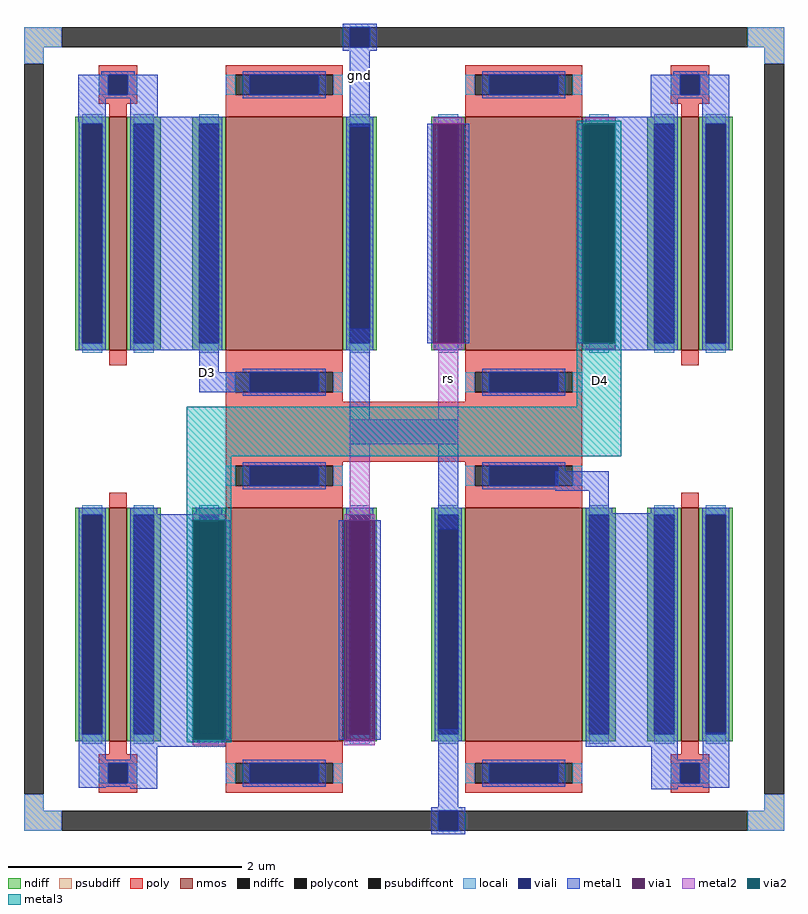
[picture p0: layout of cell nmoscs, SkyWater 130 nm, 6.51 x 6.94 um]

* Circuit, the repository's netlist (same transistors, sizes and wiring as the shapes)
* NGSPICE file created from nmoscs.ext - technology: sky130A

.subckt sky130_fd_pr__nfet_01v8_46AAJJ a_100_n200# a_n158_n200# a_n100_n288# VSUBS
X0 a_100_n200# a_n100_n288# a_n158_n200# VSUBS sky130_fd_pr__nfet_01v8 ad=0.58 pd=4.58 as=0.58 ps=4.58 w=2 l=1
.ends

.subckt sky130_fd_pr__nfet_01v8_TCR5KT a_n33_191# a_n73_n231# a_15_n231# VSUBS
X0 a_15_n231# a_n33_191# a_n73_n231# VSUBS sky130_fd_pr__nfet_01v8 ad=0.58 pd=4.58 as=0.58 ps=4.58 w=2 l=0.15
.ends

.subckt sky130_fd_pr__nfet_01v8_SCJFGL a_n33_n257# a_n73_n169# a_15_n169# VSUBS
X0 a_15_n169# a_n33_n257# a_n73_n169# VSUBS sky130_fd_pr__nfet_01v8 ad=0.58 pd=4.58 as=0.58 ps=4.58 w=2 l=0.15
.ends

.subckt nmoscs gnd D3 rs D4
Xsky130_fd_pr__nfet_01v8_46AAJJ_0 gnd D3 D3 gnd sky130_fd_pr__nfet_01v8_46AAJJ
Xsky130_fd_pr__nfet_01v8_46AAJJ_1 D4 rs D3 gnd sky130_fd_pr__nfet_01v8_46AAJJ
Xsky130_fd_pr__nfet_01v8_46AAJJ_2 rs D4 D3 gnd sky130_fd_pr__nfet_01v8_46AAJJ
Xsky130_fd_pr__nfet_01v8_46AAJJ_3 D3 gnd D3 gnd sky130_fd_pr__nfet_01v8_46AAJJ
Xsky130_fd_pr__nfet_01v8_TCR5KT_0 D3 D3 D3 gnd sky130_fd_pr__nfet_01v8_TCR5KT
Xsky130_fd_pr__nfet_01v8_TCR5KT_1 D4 D4 D4 gnd sky130_fd_pr__nfet_01v8_TCR5KT
Xsky130_fd_pr__nfet_01v8_SCJFGL_0 D4 D4 D4 gnd sky130_fd_pr__nfet_01v8_SCJFGL
Xsky130_fd_pr__nfet_01v8_SCJFGL_1 D3 D3 D3 gnd sky130_fd_pr__nfet_01v8_SCJFGL
.ends

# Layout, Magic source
magic
tech sky130A
magscale 1 2
<< psubdiff >>
rect -288 607 -223 641
rect 952 607 1014 641
rect -288 579 -254 607
rect 980 579 1014 607
rect -288 -701 -254 -673
rect 980 -701 1014 -673
rect -288 -735 -223 -701
rect 952 -735 1014 -701
<< psubdiffcont >>
rect -223 607 952 641
rect -288 -673 -254 579
rect 980 -673 1014 579
rect -223 -735 952 -701
<< poly >>
rect 58 -103 668 0
<< locali >>
rect -288 607 -223 641
rect 952 607 1014 641
rect -288 579 -254 607
rect -288 -701 -254 -673
rect 980 579 1014 607
rect 980 -701 1014 -673
rect -288 -735 -223 -701
rect 952 -735 1014 -701
<< viali >>
rect 270 607 304 641
rect 422 -735 456 -701
<< metal1 >>
rect 258 641 316 647
rect 258 607 270 641
rect 304 607 316 641
rect 258 601 316 607
rect -195 479 -148 560
rect -106 488 -59 560
rect -106 88 52 488
rect 270 471 304 601
rect 786 488 832 560
rect 674 476 832 488
rect 874 482 920 560
rect 12 50 46 88
rect 12 16 93 50
rect 270 -30 304 125
rect 403 100 413 476
rect 465 100 475 476
rect 661 100 671 476
rect 723 100 832 476
rect 674 88 832 100
rect 270 -73 456 -30
rect 3 -193 52 -191
rect -106 -203 57 -193
rect -194 -662 -148 -578
rect -106 -579 3 -203
rect 55 -579 65 -203
rect 251 -579 261 -203
rect 313 -579 323 -203
rect 422 -219 456 -73
rect 622 -153 714 -119
rect 680 -191 714 -153
rect -106 -591 57 -579
rect -106 -663 -60 -591
rect 422 -695 456 -561
rect 674 -591 832 -191
rect 787 -664 832 -591
rect 875 -662 920 -567
rect 410 -701 468 -695
rect 410 -735 422 -701
rect 456 -735 468 -701
rect 410 -741 468 -735
<< via1 >>
rect 413 100 465 476
rect 671 100 723 476
rect 3 -579 55 -203
rect 261 -579 313 -203
<< metal2 >>
rect 413 476 465 486
rect 413 90 465 100
rect 669 476 725 486
rect 669 90 725 100
rect 422 -30 456 90
rect 270 -73 456 -30
rect 270 -193 304 -73
rect 1 -203 57 -193
rect 1 -589 57 -579
rect 261 -203 313 -193
rect 261 -589 313 -579
<< via2 >>
rect 669 100 671 476
rect 671 100 723 476
rect 723 100 725 476
rect 1 -579 3 -203
rect 3 -579 55 -203
rect 55 -579 57 -203
<< metal3 >>
rect 659 476 735 481
rect 659 100 669 476
rect 725 100 735 476
rect 659 -9 735 100
rect -9 -94 735 -9
rect -9 -203 67 -94
rect -9 -579 1 -203
rect 57 -579 67 -203
rect -9 -584 67 -579
use sky130_fd_pr__nfet_01v8_46AAJJ  sky130_fd_pr__nfet_01v8_46AAJJ_0
transform 1 0 158 0 1 288
box -158 -288 158 288
use sky130_fd_pr__nfet_01v8_46AAJJ  sky130_fd_pr__nfet_01v8_46AAJJ_1
transform 1 0 568 0 1 288
box -158 -288 158 288
use sky130_fd_pr__nfet_01v8_46AAJJ  sky130_fd_pr__nfet_01v8_46AAJJ_2
transform 1 0 158 0 1 -382
box -158 -288 158 288
use sky130_fd_pr__nfet_01v8_46AAJJ  sky130_fd_pr__nfet_01v8_46AAJJ_3
transform 1 0 568 0 1 -382
box -158 -288 158 288
use sky130_fd_pr__nfet_01v8_SCJFGL  sky130_fd_pr__nfet_01v8_SCJFGL_0
transform 1 0 -127 0 1 -413
box -73 -257 73 257
use sky130_fd_pr__nfet_01v8_SCJFGL  sky130_fd_pr__nfet_01v8_SCJFGL_1
transform 1 0 853 0 1 -413
box -73 -257 73 257
use sky130_fd_pr__nfet_01v8_TCR5KT  sky130_fd_pr__nfet_01v8_TCR5KT_0
transform 1 0 -127 0 1 319
box -73 -257 73 257
use sky130_fd_pr__nfet_01v8_TCR5KT  sky130_fd_pr__nfet_01v8_TCR5KT_1
transform 1 0 853 0 1 319
box -73 -257 73 257
<< labels >>
flabel metal1 287 558 287 558 0 FreeSans 320 0 0 0 gnd
port 1 nsew
flabel metal1 27 49 27 49 0 FreeSans 320 0 0 0 D3
port 2 nsew
flabel metal2 439 39 439 39 0 FreeSans 320 0 0 0 rs
port 3 nsew
flabel metal3 699 36 699 36 0 FreeSans 320 0 0 0 D4
port 4 nsew
<< end >>

# cell sky130_fd_pr__nfet_01v8_46AAJJ: kit device sky130_fd_pr__nfet_01v8, w 2 l 1 m 1 nf 1 diffcov 100 polycov 100 guard 0 glc 1 grc 1 gtc 1 gbc 1 tbcov 100 rlcov 100 topc 1 botc 1 poverlap 0 doverlap 1 lmin 0.15 wmin 0.42 compatible {sky130_fd_pr__nfet_01v8 sky130_fd_pr__nfet_01v8_lvt sky130_fd_bs_flash__special_sonosfet_star sky130_fd_pr__nfet_g5v0d10v5 sky130_fd_pr__nfet_05v0_nvt sky130_fd_pr__nfet_03v3_nvt} full_metal 1 viasrc 100 viadrn 100 viagate 70 viagb 0 viagr 0 viagl 0 viagt 0

# cell sky130_fd_pr__nfet_01v8_SCJFGL: kit device sky130_fd_pr__nfet_01v8, w 2 l 0.150 m 1 nf 1 diffcov 100 polycov 100 guard 0 glc 1 grc 1 gtc 1 gbc 1 tbcov 100 rlcov 100 topc 0 botc 1 poverlap 0 doverlap 1 lmin 0.15 wmin 0.42 compatible {sky130_fd_pr__nfet_01v8 sky130_fd_pr__nfet_01v8_lvt sky130_fd_bs_flash__special_sonosfet_star sky130_fd_pr__nfet_g5v0d10v5 sky130_fd_pr__nfet_05v0_nvt sky130_fd_pr__nfet_03v3_nvt} full_metal 1 viasrc 100 viadrn 100 viagate 100 viagb 0 viagr 0 viagl 0 viagt 0

# cell sky130_fd_pr__nfet_01v8_TCR5KT: kit device sky130_fd_pr__nfet_01v8, w 2 l 0.150 m 1 nf 1 diffcov 100 polycov 100 guard 0 glc 1 grc 1 gtc 1 gbc 1 tbcov 100 rlcov 100 topc 1 botc 0 poverlap 0 doverlap 1 lmin 0.15 wmin 0.42 compatible {sky130_fd_pr__nfet_01v8 sky130_fd_pr__nfet_01v8_lvt sky130_fd_bs_flash__special_sonosfet_star sky130_fd_pr__nfet_g5v0d10v5 sky130_fd_pr__nfet_05v0_nvt sky130_fd_pr__nfet_03v3_nvt} full_metal 1 viasrc 100 viadrn 100 viagate 100 viagb 0 viagr 0 viagl 0 viagt 0
